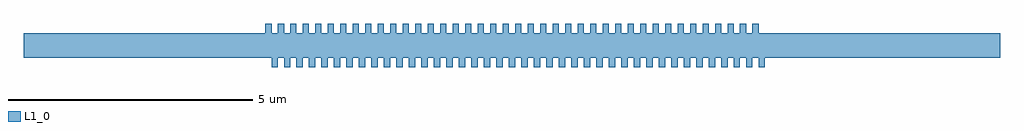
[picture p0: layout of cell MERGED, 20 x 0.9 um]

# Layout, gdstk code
import gdstk
lib = gdstk.Library(unit=1e-6, precision=1e-09)
def R(c, l, rs):  # rectangles x0, y0, x1, y1
    for r in rs: c.add(gdstk.rectangle(r[:2], r[2:], *l))
def A(c, l, x, y, w, h, nx, ny, dx, dy):  # array of equal rectangles
    R(c, l, [(x+i*dx, y+j*dy, x+i*dx+w, y+j*dy+h) for i in range(nx) for j in range(ny)])
L1_0 = (1, 0)

merged = lib.new_cell('MERGED')
A(merged, L1_0, -4.928, -0.45, 0.128, 0.7, 40, 1, 0.256, 0)
A(merged, L1_0, -5.056, -0.25, 0.128, 0.7, 40, 1, 0.256, 0)
R(merged, L1_0, [(-10,-0.25,10,0.25)])

lib.write_gds('MERGED.gds')
